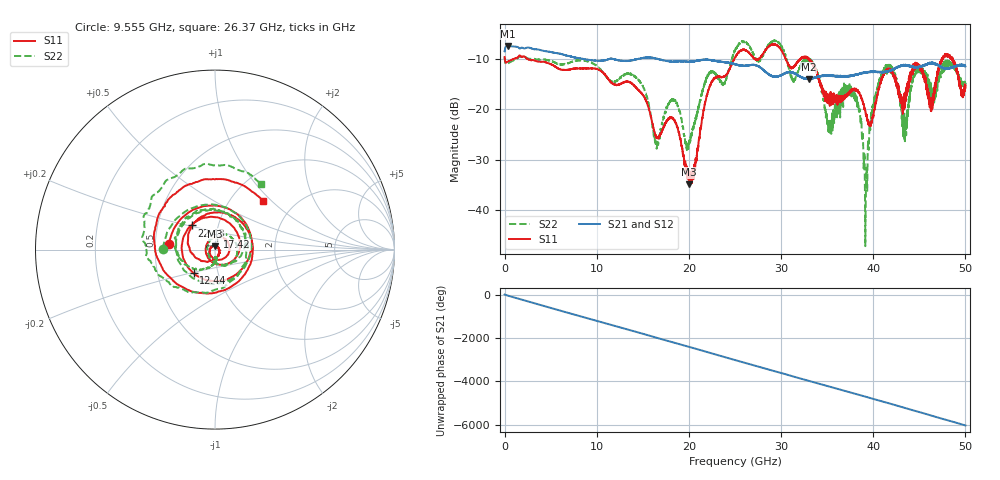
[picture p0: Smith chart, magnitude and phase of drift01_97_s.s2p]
!Created with skrf (http://scikit-rf.org).
# Hz S RI R 50.0
!freq ReS11 ImS11 ReS21 ImS21 ReS12 ImS12 ReS22 ImS22
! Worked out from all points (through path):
!   10001 points, 300 kHz to 50 GHz, reference 50 ohm
!   highest |S21| = -7.33 dB at 335.3 MHz (marker M1); lowest = -14.0 dB at 32.98 GHz (marker M2)
!   group delay of S21, straight-line fit = 335 ps
!   lowest |S11| = -34.9 dB at 20.01 GHz (marker M3), VSWR 1.04, Z = 49.9 + j1.8 ohm
!   |S11| at or under -10 dB: 2.554 GHz to 24.91 GHz (22.36 GHz wide, 163 % of centre); 30.52 GHz to 32.02 GHz (1.495 GHz wide, 4.78 % of centre); 33.06 GHz to 47.43 GHz (14.37 GHz wide, 35.7 % of centre) (the widest 3 of 19)
!   |S22| runs from -47.2 to -6.2 dB; largest |S21 - S12| = 0.01
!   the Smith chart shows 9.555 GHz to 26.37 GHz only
!   S11 on the Smith chart (normalised r, x): 9.555 GHz: 0.59, +0.04; 12.44 GHz: 0.76, -0.21; 17.42 GHz: 1.01, +0.15; 22.43 GHz: 0.75, +0.21; 26.37 GHz: 1.40, +0.89
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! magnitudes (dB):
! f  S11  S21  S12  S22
! 300 kHz  -9.5  -8.4  -8.5  -9.5
! 335.3 MHz  -10.5  -7.3  -7.3  -10.8
! 8.335 GHz  -11.8  -9.9  -9.9  -10.2
! 9.555 GHz  -11.8  -10.2  -10.2  -10.8
! 12.44 GHz  -15.0  -10.2  -10.2  -13.9
! 16.67 GHz  -25.8  -10.0  -9.9  -27.1
! 17.42 GHz  -22.8  -10.3  -10.3  -20.5
! 20.01 GHz  -34.9  -10.5  -10.5  -26.8
! 22.43 GHz  -14.6  -10.2  -10.2  -12.6
! 25 GHz  -9.6  -11.0  -11.0  -8.3
! 26.37 GHz  -8.4  -11.2  -11.2  -6.9
! 32.98 GHz  -9.8  -14.0  -13.8  -10.3
! 33.34 GHz  -10.7  -13.8  -13.8  -10.5
! 35.24 GHz  -17.0  -13.3  -13.2  -23.0
! 37.97 GHz  -15.9  -13.2  -13.2  -17.3
! 39.17 GHz  -20.6  -12.6  -12.6  -41.7
! 40.14 GHz  -20.0  -12.5  -12.5  -17.8
! 41.67 GHz  -12.0  -12.3  -12.3  -11.6
! 43.43 GHz  -17.5  -11.2  -11.3  -26.6
! 44.87 GHz  -11.1  -11.6  -11.5  -11.7
! 46.28 GHz  -18.6  -10.7  -10.6  -17.4
! 50 GHz  -15.7  -11.4  -11.3  -15.0
